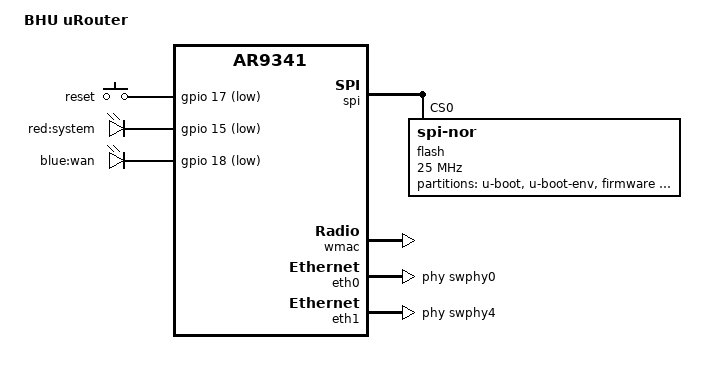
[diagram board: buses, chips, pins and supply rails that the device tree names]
// SPDX-License-Identifier: GPL-2.0-or-later OR MIT

#include "ar9341.dtsi"

#include <dt-bindings/gpio/gpio.h>
#include <dt-bindings/input/input.h>

/ {
	model = "BHU uRouter";
	compatible = "bhu,urouter", "qca,ar9341";

	aliases {
		label-mac-device=&eth0;
		led-boot = &led_power;
		led-failsafe = &led_power;
		led-running = &led_power;
		led-upgrade = &led_power;
	};

	keys {
		compatible = "gpio-keys";

		reset {
			label = "reset";
			linux,code = <KEY_RESTART>;
			gpios = <&gpio 17 GPIO_ACTIVE_LOW>;
		};
	};

	leds {
		compatible = "gpio-leds";

		led_system: system {
			label = "red:system";
			gpios = <&gpio 15 GPIO_ACTIVE_LOW>;
			default-state = "on";
		};

		wan {
			label = "blue:wan";
			gpios = <&gpio 18 GPIO_ACTIVE_LOW>;
		};
	};
};

&ref {
	clock-frequency = <25000000>;
};

&spi {
	status = "okay";

	flash@0 {
		compatible = "jedec,spi-nor";
		reg = <0>;
		spi-max-frequency = <25000000>;
		
mtdparts=ath-nor0:256k(u-boot),64k(u-boot-env),1408k(kernel),8448k(rootfs),1408k(kernel2),1664k(rescure),2944kr),64k(cfg),64k(oem),64k(ART)

		partitions {
			compatible = "fixed-partitions";
			#address-cells = <1>;
			#size-cells = <1>;

			uboot: partition@0 {
				label = "u-boot";
				reg = <0x000000 0x040000>;
				read-only;
			};

			partition@40000 {
				label = "u-boot-env";
				reg = <0x040000 0x010000>;
				read-only;
			};

			partition@50000 {
				compatible = "denx,uimage";
				label = "firmware";
				reg = <0x050000 0x09a0000>;
			};

			art: partition@7f0000 {
				label = "art";
				reg = <0x7f0000 0x010000>;
				read-only;
			};
			art: partition@7f0000 {
				label = "art";
				reg = <0x7f0000 0x010000>;
				read-only;
			};
			art: partition@7f0000 {
				label = "cfg";
				reg = <0x7f0000 0x010000>;
				read-only;
			};
			art: partition@7f0000 {
				label = "oem";
				reg = <0x7f0000 0x010000>;
				read-only;
			};
			art: partition@7f0000 {
				label = "art";
				reg = <0x7f0000 0x010000>;
				read-only;

				compatible = "nvmem-cells";
				#address-cells = <1>;
				#size-cells = <1>;

				macaddr_art_0: macaddr@0 {
					reg = <0x0 0x6>;
				};
			};
		};
	};
};

&wmac {
	status = "okay";

	mtd-cal-data = <&art 0x1000>;
};

&eth0 {
	status = "okay";

	phy-handle = <&swphy0>;
	nvmem-cells = <&macaddr_art_0>;
	nvmem-cell-names = "mac-address";
	mac-address-increment = <1>;
};

&eth1 {
	phy-handle = <&swphy4>;
	pll-data = <0x06000000 0x00000101 0x00001616>;

	nvmem-cells = <&macaddr_art_0>;
	nvmem-cell-names = "mac-address";

	gmac-config {
		device = <&gmac>;
		switch-phy-swap = <1>;
	};
};
